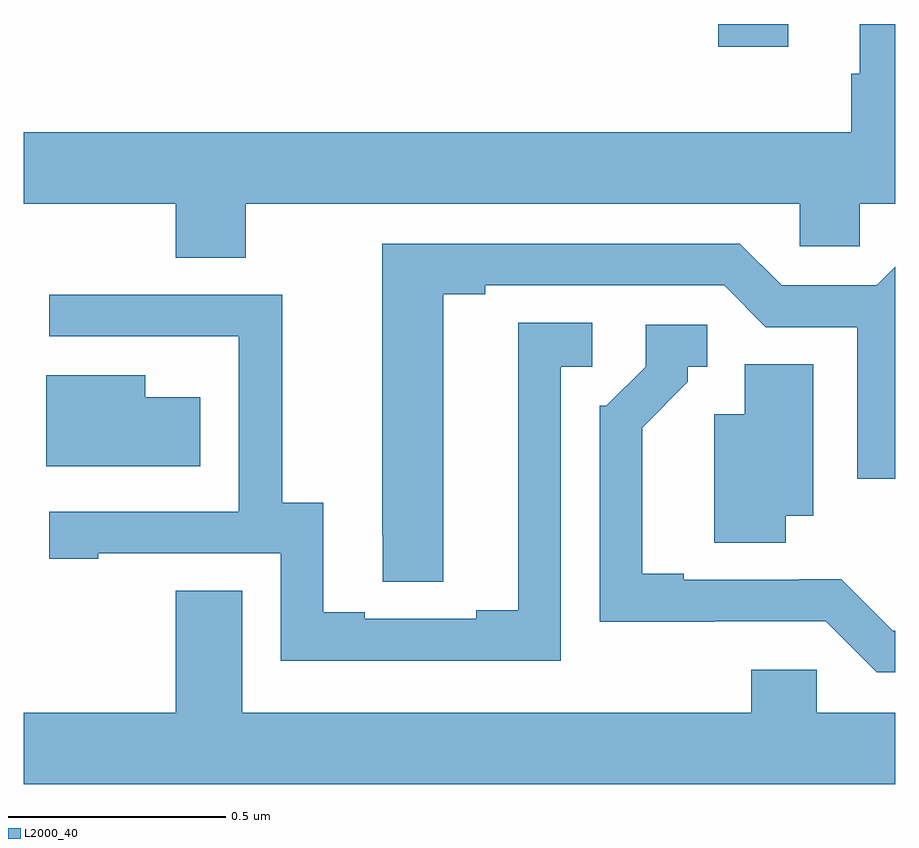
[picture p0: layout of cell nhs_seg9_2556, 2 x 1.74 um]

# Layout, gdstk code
import gdstk
lib = gdstk.Library(unit=1e-6, precision=1e-09)
def R(c, l, rs):  # rectangles x0, y0, x1, y1
    for r in rs: c.add(gdstk.rectangle(r[:2], r[2:], *l))
def P(c, l, *ps):  # polygons
    for p in ps: c.add(gdstk.Polygon(p, *l))
L2000_40 = (2000, 40)

nhs_seg9_2556 = lib.new_cell('nhs_seg9_2556')
R(nhs_seg9_2556, L2000_40, [(143.594,1195.448,143.754,1195.5)])
P(nhs_seg9_2556, L2000_40, [(142.509,1195.088),(143.781,1195.088),(143.781,1194.99),(143.919,1194.99),(143.919,1195.088),(144,1195.088),(144,1195.5),(143.918,1195.5),(143.918,1195.386),(143.899,1195.386),(143.899,1195.252),(142,1195.252),(142,1195.088),(142.349,1195.088),(142.349,1194.964),(142.509,1194.964)],
  [(142.963,1194.88),(143.059,1194.88),(143.059,1194.9),(143.607,1194.9),(143.703,1194.804),(143.913,1194.804),(143.913,1194.456),(144,1194.456),(144,1194.943),(143.957,1194.9),(143.739,1194.9),(143.643,1194.996),(142.823,1194.996),(142.823,1194.328),(142.824,1194.328),(142.824,1194.22),(142.963,1194.22)],
  [(143.232,1194.714),(143.305,1194.714),(143.305,1194.815),(143.135,1194.815),(143.135,1194.155),(143.039,1194.155),(143.039,1194.135),(142.783,1194.135),(142.783,1194.15),(142.687,1194.15),(142.687,1194.401),(142.593,1194.401),(142.593,1194.879),(142.059,1194.879),(142.059,1194.783),(142.493,1194.783),(142.493,1194.782),(142.494,1194.782),(142.494,1194.381),(142.059,1194.381),(142.059,1194.273),(142.171,1194.273),(142.171,1194.285),(142.59,1194.285),(142.59,1194.039),(143.232,1194.039)],
  [(144,1194.108),(143.994,1194.108),(143.876,1194.226),(143.78,1194.226),(143.78,1194.225),(143.515,1194.225),(143.515,1194.238),(143.419,1194.238),(143.419,1194.574),(143.524,1194.679),(143.524,1194.714),(143.569,1194.714),(143.569,1194.81),(143.427,1194.81),(143.427,1194.714),(143.337,1194.624),(143.322,1194.624),(143.322,1194.128),(143.585,1194.128),(143.585,1194.129),(143.841,1194.129),(143.958,1194.012),(144,1194.012)],
  [(143.749,1194.371),(143.812,1194.371),(143.812,1194.719),(143.654,1194.719),(143.654,1194.604),(143.585,1194.604),(143.585,1194.31),(143.749,1194.31)],
  [(142.405,1194.643),(142.279,1194.643),(142.279,1194.694),(142.052,1194.694),(142.052,1194.485),(142.405,1194.485)],
  [(144,1193.92),(143.82,1193.92),(143.82,1194.018),(143.669,1194.018),(143.669,1193.92),(142.501,1193.92),(142.501,1194.2),(142.349,1194.2),(142.349,1193.92),(142,1193.92),(142,1193.756),(144,1193.756)])

lib.write_gds('nhs_seg9_2556.gds')
